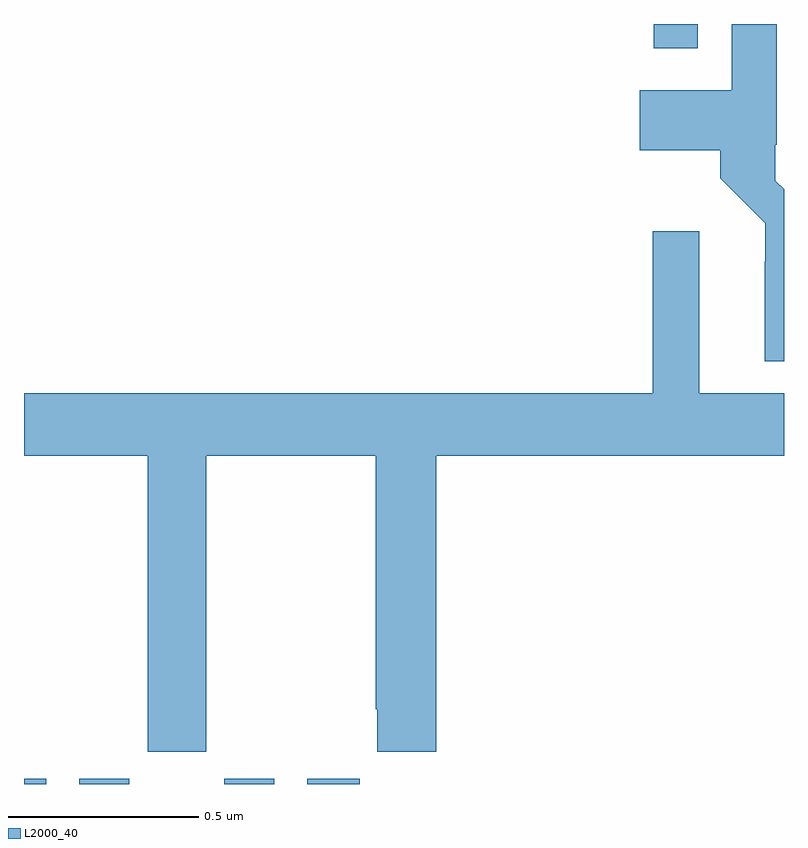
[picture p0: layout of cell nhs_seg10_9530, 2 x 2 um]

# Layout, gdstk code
import gdstk
lib = gdstk.Library(unit=1e-6, precision=1e-09)
def R(c, l, rs):  # rectangles x0, y0, x1, y1
    for r in rs: c.add(gdstk.rectangle(r[:2], r[2:], *l))
def P(c, l, *ps):  # polygons
    for p in ps: c.add(gdstk.Polygon(p, *l))
L2000_40 = (2000, 40)

nhs_seg10_9530 = lib.new_cell('nhs_seg10_9530')
R(nhs_seg10_9530, L2000_40, [(231,1251.5,231.058,1251.514), (231.146,1251.5,231.277,1251.514), (231.527,1251.5,231.658,1251.514), (231.746,1251.5,231.883,1251.514), (232.657,1253.436,232.773,1253.5)])
P(nhs_seg10_9530, L2000_40, [(233,1253.065),(232.977,1253.088),(232.977,1253.182),(232.981,1253.182),(232.981,1253.5),(232.862,1253.5),(232.862,1253.326),(232.62,1253.326),(232.62,1253.168),(232.832,1253.168),(232.832,1253.094),(232.95,1252.976),(232.95,1252.874),(232.949,1252.874),(232.949,1252.613),(233,1252.613)],
  [(231.48,1252.364),(231.925,1252.364),(231.925,1251.697),(231.929,1251.697),(231.929,1251.585),(232.085,1251.585),(232.085,1252.364),(233,1252.364),(233,1252.528),(232.777,1252.528),(232.777,1252.954),(232.655,1252.954),(232.655,1252.528),(231,1252.528),(231,1252.364),(231.325,1252.364),(231.325,1251.585),(231.48,1251.585)])

lib.write_gds('nhs_seg10_9530.gds')
